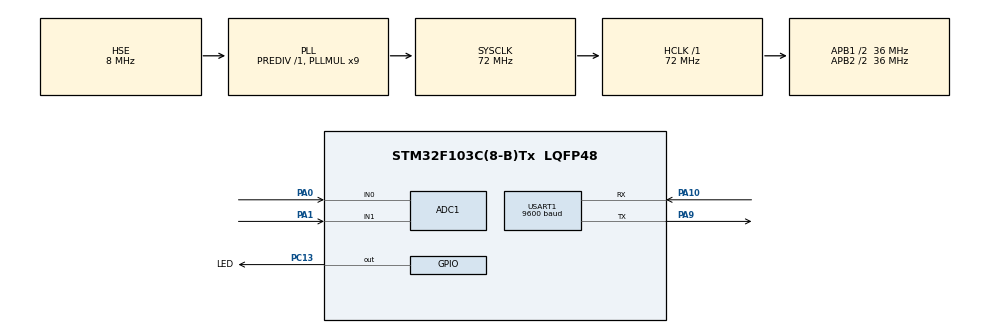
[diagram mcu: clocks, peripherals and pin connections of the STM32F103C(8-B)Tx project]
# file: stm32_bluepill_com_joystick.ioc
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ADC1.Channel-1\#ChannelRegularConversion=ADC_CHANNEL_0
ADC1.ContinuousConvMode=DISABLE
ADC1.NbrOfConversion=1
ADC1.NbrOfConversionFlag=1
ADC1.Rank-1\#ChannelRegularConversion=1
ADC1.SamplingTime-1\#ChannelRegularConversion=ADC_SAMPLETIME_1CYCLE_5
ADC1.master=1
FREERTOS.Tasks01=LT,8,128,StartLT,Default,NULL,Dynamic,NULL,NULL;HT,40,128,StartHT,Default,NULL,Dynamic,NULL,NULL
Mcu.Family=STM32F1
Mcu.Name=STM32F103C(8-B)Tx
Mcu.Package=LQFP48
NVIC.PriorityGroup=NVIC_PRIORITYGROUP_4
NVIC.TIM4_IRQn=true\:0\:0\:false\:false\:true\:false\:false\:true
NVIC.TimeBase=TIM4_IRQn
NVIC.TimeBaseIP=TIM4
PA0-WKUP.Signal=ADCx_IN0
PA1.Signal=ADCx_IN1
PA10.Mode=Asynchronous
PA10.Signal=USART1_RX
PA13.Mode=Serial_Wire
PA13.Signal=SYS_JTMS-SWDIO
PA14.Mode=Serial_Wire
PA14.Signal=SYS_JTCK-SWCLK
PA9.Mode=Asynchronous
PA9.Signal=USART1_TX
PC13-TAMPER-RTC.GPIO_Label=LED
PC13-TAMPER-RTC.GPIO_Speed=GPIO_SPEED_FREQ_HIGH
PC13-TAMPER-RTC.Signal=GPIO_Output
PD0-OSC_IN.Mode=HSE-External-Oscillator
PD0-OSC_IN.Signal=RCC_OSC_IN
PD1-OSC_OUT.Mode=HSE-External-Oscillator
PD1-OSC_OUT.Signal=RCC_OSC_OUT
ProjectManager.HeapSize=0x200
ProjectManager.StackSize=0x400
ProjectManager.TargetToolchain=STM32CubeIDE
RCC.ADCPresc=RCC_ADCPCLK2_DIV4
RCC.AHBFreq_Value=72000000
RCC.APB1CLKDivider=RCC_HCLK_DIV2
RCC.APB1Freq_Value=36000000
RCC.APB1TimFreq_Value=72000000
RCC.APB2CLKDivider=RCC_HCLK_DIV2
RCC.APB2Freq_Value=36000000
RCC.APB2TimFreq_Value=72000000
RCC.HCLKFreq_Value=72000000
RCC.PLLMUL=RCC_PLL_MUL9
RCC.PLLSourceVirtual=RCC_PLLSOURCE_HSE
RCC.SYSCLKFreq_VALUE=72000000
RCC.SYSCLKSource=RCC_SYSCLKSOURCE_PLLCLK
RCC.USBFreq_Value=72000000
SH.ADCx_IN0.0=ADC1_IN0,IN0
SH.ADCx_IN1.0=ADC1_IN1,IN1
USART1.BaudRate=9600
USART1.VirtualMode=VM_ASYNC
VP_FREERTOS_VS_CMSIS_V2.Mode=CMSIS_V2
VP_SYS_VS_tim4.Mode=TIM4
board=custom

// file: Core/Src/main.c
/* USER CODE BEGIN Header */
/**
  ******************************************************************************
  * @file           : main.c
  * @brief          : Main program body
  ******************************************************************************
  * @attention
  *
  * <h2><center>&copy; Copyright (c) 2020 STMicroelectronics.
  * All rights reserved.</center></h2>
  *
  * This software component is licensed by ST under Ultimate Liberty license
  * SLA0044, the "License"; You may not use this file except in compliance with
  * the License. You may obtain a copy of the License at:
  *                             www.st.com/SLA0044
  *
  ******************************************************************************
  */
/* USER CODE END Header */
#include "main.h"
#include "cmsis_os.h"

/* USER CODE BEGIN Includes */
#include<string.h>
#include <stdio.h>
/* USER CODE END Includes */

ADC_HandleTypeDef hadc1;

UART_HandleTypeDef huart1;

/* Definitions for LT */
osThreadId_t LTHandle;
const osThreadAttr_t LT_attributes = {
  .name = "LT",
  .priority = (osPriority_t) osPriorityLow,
  .stack_size = 128 * 4
};
/* Definitions for HT */
osThreadId_t HTHandle;
const osThreadAttr_t HT_attributes = {
  .name = "HT",
  .priority = (osPriority_t) osPriorityHigh,
  .stack_size = 128 * 4
};
/* USER CODE BEGIN PV */
int Joystick[2] = {0,0};
/* USER CODE END PV */

void SystemClock_Config(void);
static void MX_GPIO_Init(void);
static void MX_USART1_UART_Init(void);
static void MX_ADC1_Init(void);
void StartLT(void *argument);
void StartHT(void *argument);

/* USER CODE BEGIN 0 */
void send_string(char* s)
{
	HAL_UART_Transmit(&huart1, (uint8_t*)s, strlen(s), 1000);
}

void send_char(char c)
{
	HAL_UART_Transmit(&huart1, (uint8_t*)&c, 1, 1000);
}

int __io_putchar(int ch)
{
	send_char(ch);
	return ch;
}

void ADC_SetActiveChannel(ADC_HandleTypeDef *hadc, uint32_t AdcChannel)
{
  ADC_ChannelConfTypeDef sConfig = {0};
  sConfig.Channel = AdcChannel;
  sConfig.Rank = 1;
  if (HAL_ADC_ConfigChannel(hadc, &sConfig) != HAL_OK)
  {
   Error_Handler();
  }
}
/* USER CODE END 0 */

int main(void)
{

  /* MCU Configuration--------------------------------------------------------*/

  /* Reset of all peripherals, Initializes the Flash interface and the Systick. */
  HAL_Init();

  /* Configure the system clock */
  SystemClock_Config();

  /* Initialize all configured peripherals */
  MX_GPIO_Init();
  MX_USART1_UART_Init();
  MX_ADC1_Init();
  /* USER CODE BEGIN 2 */
  HAL_ADC_Start(&hadc1);
  /* USER CODE END 2 */

  /* Init scheduler */
  osKernelInitialize();

  /* Create the thread(s) */
  /* creation of LT */
  LTHandle = osThreadNew(StartLT, NULL, &LT_attributes);

  /* creation of HT */
  HTHandle = osThreadNew(StartHT, NULL, &HT_attributes);

  /* Start scheduler */
  osKernelStart();

  /* We should never get here as control is now taken by the scheduler */
  /* Infinite loop */
  while (1)
  {

  }
}

void SystemClock_Config(void)
{
  RCC_OscInitTypeDef RCC_OscInitStruct = {0};
  RCC_ClkInitTypeDef RCC_ClkInitStruct = {0};
  RCC_PeriphCLKInitTypeDef PeriphClkInit = {0};

  /** Initializes the RCC Oscillators according to the specified parameters
  * in the RCC_OscInitTypeDef structure.
  */
  RCC_OscInitStruct.OscillatorType = RCC_OSCILLATORTYPE_HSE;
  RCC_OscInitStruct.HSEState = RCC_HSE_ON;
  RCC_OscInitStruct.HSEPredivValue = RCC_HSE_PREDIV_DIV1;
  RCC_OscInitStruct.HSIState = RCC_HSI_ON;
  RCC_OscInitStruct.PLL.PLLState = RCC_PLL_ON;
  RCC_OscInitStruct.PLL.PLLSource = RCC_PLLSOURCE_HSE;
  RCC_OscInitStruct.PLL.PLLMUL = RCC_PLL_MUL9;
  if (HAL_RCC_OscConfig(&RCC_OscInitStruct) != HAL_OK)
  {
    Error_Handler();
  }
  /** Initializes the CPU, AHB and APB buses clocks
  */
  RCC_ClkInitStruct.ClockType = RCC_CLOCKTYPE_HCLK|RCC_CLOCKTYPE_SYSCLK
                              |RCC_CLOCKTYPE_PCLK1|RCC_CLOCKTYPE_PCLK2;
  RCC_ClkInitStruct.SYSCLKSource = RCC_SYSCLKSOURCE_PLLCLK;
  RCC_ClkInitStruct.AHBCLKDivider = RCC_SYSCLK_DIV1;
  RCC_ClkInitStruct.APB1CLKDivider = RCC_HCLK_DIV2;
  RCC_ClkInitStruct.APB2CLKDivider = RCC_HCLK_DIV2;

  if (HAL_RCC_ClockConfig(&RCC_ClkInitStruct, FLASH_LATENCY_2) != HAL_OK)
  {
    Error_Handler();
  }
  PeriphClkInit.PeriphClockSelection = RCC_PERIPHCLK_ADC;
  PeriphClkInit.AdcClockSelection = RCC_ADCPCLK2_DIV4;
  if (HAL_RCCEx_PeriphCLKConfig(&PeriphClkInit) != HAL_OK)
  {
    Error_Handler();
  }
}

static void MX_ADC1_Init(void)
{

  ADC_ChannelConfTypeDef sConfig = {0};

  /** Common config
  */
  hadc1.Instance = ADC1;
  hadc1.Init.ScanConvMode = ADC_SCAN_DISABLE;
  hadc1.Init.ContinuousConvMode = DISABLE;
  hadc1.Init.DiscontinuousConvMode = DISABLE;
  hadc1.Init.ExternalTrigConv = ADC_SOFTWARE_START;
  hadc1.Init.DataAlign = ADC_DATAALIGN_RIGHT;
  hadc1.Init.NbrOfConversion = 1;
  if (HAL_ADC_Init(&hadc1) != HAL_OK)
  {
    Error_Handler();
  }
  /** Configure Regular Channel
  */
  sConfig.Channel = ADC_CHANNEL_0;
  sConfig.Rank = ADC_REGULAR_RANK_1;
  sConfig.SamplingTime = ADC_SAMPLETIME_1CYCLE_5;
  if (HAL_ADC_ConfigChannel(&hadc1, &sConfig) != HAL_OK)
  {
    Error_Handler();
  }

}

static void MX_USART1_UART_Init(void)
{

  huart1.Instance = USART1;
  huart1.Init.BaudRate = 9600;
  huart1.Init.WordLength = UART_WORDLENGTH_8B;
  huart1.Init.StopBits = UART_STOPBITS_1;
  huart1.Init.Parity = UART_PARITY_NONE;
  huart1.Init.Mode = UART_MODE_TX_RX;
  huart1.Init.HwFlowCtl = UART_HWCONTROL_NONE;
  huart1.Init.OverSampling = UART_OVERSAMPLING_16;
  if (HAL_UART_Init(&huart1) != HAL_OK)
  {
    Error_Handler();
  }

}

static void MX_GPIO_Init(void)
{
  GPIO_InitTypeDef GPIO_InitStruct = {0};

  /* GPIO Ports Clock Enable */
  __HAL_RCC_GPIOC_CLK_ENABLE();
  __HAL_RCC_GPIOD_CLK_ENABLE();
  __HAL_RCC_GPIOA_CLK_ENABLE();

  /*Configure GPIO pin Output Level */
  HAL_GPIO_WritePin(LED_GPIO_Port, LED_Pin, GPIO_PIN_RESET);

  /*Configure GPIO pin : LED_Pin */
  GPIO_InitStruct.Pin = LED_Pin;
  GPIO_InitStruct.Mode = GPIO_MODE_OUTPUT_PP;
  GPIO_InitStruct.Pull = GPIO_NOPULL;
  GPIO_InitStruct.Speed = GPIO_SPEED_FREQ_HIGH;
  HAL_GPIO_Init(LED_GPIO_Port, &GPIO_InitStruct);

}

void StartLT(void *argument)
{
  /* USER CODE BEGIN 5 */
  /* Infinite loop */
  for(;;)
  {
	  if(HAL_ADC_PollForConversion(&hadc1, 10) == HAL_OK)
	  {
		Joystick[0] = HAL_ADC_GetValue(&hadc1);
		ADC_SetActiveChannel(&hadc1, ADC_CHANNEL_1);
		HAL_ADC_Start(&hadc1);
	  }

	  if(HAL_ADC_PollForConversion(&hadc1, 10) == HAL_OK)
	  {
		Joystick[1] = HAL_ADC_GetValue(&hadc1);
		ADC_SetActiveChannel(&hadc1, ADC_CHANNEL_0);
		HAL_ADC_Start(&hadc1);
	  }

	  osDelay(1);
  }
  /* USER CODE END 5 */
}

void StartHT(void *argument)
{
  /* USER CODE BEGIN StartHT */
  /* Infinite loop */
  for(;;)
  {
	  if (Joystick[0] > 3200 && Joystick[0] > Joystick[1])
		  printf("R\r\n");
	  else if (Joystick[0] < 1000 && Joystick[0] < Joystick[1])
		  printf("L\r\n");
	  else if (Joystick[1] > 3200 && Joystick[0] < Joystick[1])
		  printf("U\r\n");
	  else if (Joystick[1] < 1000 && Joystick[0] > Joystick[1])
		  printf("D\r\n");
	  else
		  printf("N\r\n");

	  osDelay(1000);
  }
  /* USER CODE END StartHT */
}

 /**
  * @brief  Period elapsed callback in non blocking mode
  * @note   This function is called  when TIM4 interrupt took place, inside
  * HAL_TIM_IRQHandler(). It makes a direct call to HAL_IncTick() to increment
  * a global variable "uwTick" used as application time base.
  * @param  htim : TIM handle
  * @retval None
  */
void HAL_TIM_PeriodElapsedCallback(TIM_HandleTypeDef *htim)
{
  if (htim->Instance == TIM4) {
    HAL_IncTick();
  }
}

void Error_Handler(void)
{
  __disable_irq();
  while (1)
  {
  }
}

/************************ (C) COPYRIGHT STMicroelectronics *****END OF FILE****/
